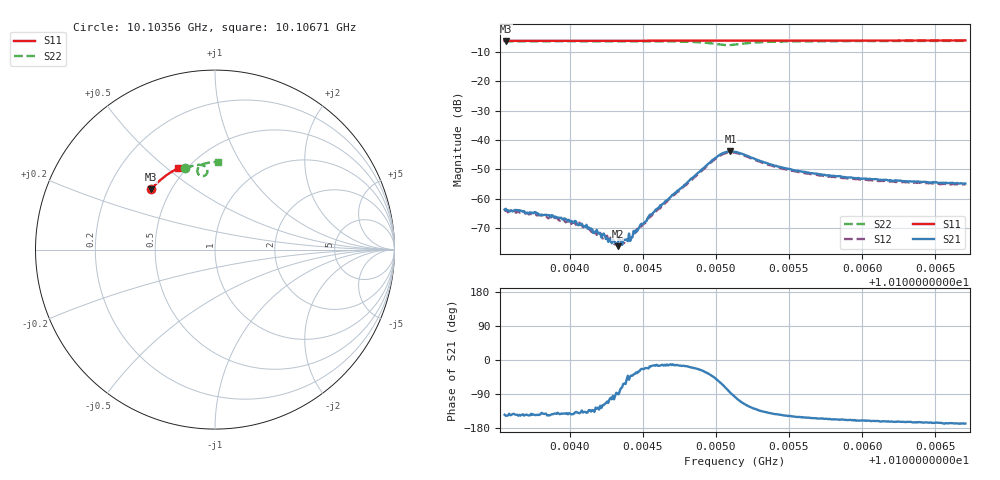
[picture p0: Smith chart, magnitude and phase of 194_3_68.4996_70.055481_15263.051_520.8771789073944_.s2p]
#  HZ  S  RI  R  50.00
! Rohde & Schwarz Vector Network Analyzer
! Rohde-Schwarz,ZNB20-2Port,1311601062101988,3.16
! Created: UTC 3/20/2024, 5:12:22 PM
! freq[Hz]  re:S11  im:S11  re:S21  im:S21  re:S12  im:S12  re:S22  im:S22
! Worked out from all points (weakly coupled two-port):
!   401 points, 10.10356 GHz to 10.10671 GHz, reference 50 ohm
!   highest |S21| = -43.83 dB at 10.1051 GHz (marker M1); lowest = -76.2 dB at 10.10433 GHz (marker M2)
!   lowest |S11| = -6.2 dB at 10.10356 GHz (marker M3), VSWR 2.92, Z = 19.5 + j17.2 ohm
!   |S11| at or under -10 dB: nowhere
!   |S22| runs from -7.6 to -6.2 dB; largest |S21 - S12| = 0.00071
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1.0103556e10  -0.357 0.335  -0.000531 -0.000379  -0.000479 -0.000426  -0.1664 0.452
1.0103564e10  -0.3567 0.3353  -0.000567 -0.000365  -0.00047 -0.000402  -0.1658 0.4523
1.0103643e10  -0.3536 0.339  -0.00052 -0.000373  -0.000453 -0.000388  -0.1608 0.4543
1.0103816e10  -0.3466 0.3469  -0.000408 -0.000329  -0.000387 -0.000365  -0.1496 0.4585
1.0103871e10  -0.3441 0.3493  -0.000396 -0.000281  -0.000369 -0.000338  -0.1458 0.4598
1.0104084e10  -0.3353 0.3587  -0.000256 -0.000273  -0.000239 -0.000271  -0.1314 0.4645
1.0104242e10  -0.3284 0.3655  -0.000101 -0.000211  -0.000109 -0.000198  -0.1199 0.4677
1.0104273e10  -0.3271 0.3669  -4.84e-05 -0.000189  -4.83e-05 -0.000193  -0.1176 0.4682
1.0104305e10  -0.3256 0.3681  -4.55e-05 -0.000185  5.57e-06 -0.000158  -0.1152 0.4689
1.0104328e10  -0.3247 0.3691  1.57e-06 -0.000155  1.2e-05 -0.000176  -0.1132 0.4693
1.0104383e10  -0.3224 0.3716  8.93e-05 -0.000178  0.000114 -0.000169  -0.109 0.47
1.0104415e10  -0.3209 0.3728  0.000138 -0.00013  0.000162 -0.000127  -0.1062 0.4706
1.0104549e10  -0.3148 0.3783  0.000509 -0.000149  0.000469 -9.5e-05  -0.0944 0.4722
1.0104612e10  -0.3121 0.3808  0.000677 -0.000185  0.000674 -0.000137  -0.0881 0.4724
1.0104982e10  -0.2946 0.3954  0.00333 -0.0032  0.00348 -0.00277  -0.0418 0.4379
1.0105045e10  -0.2918 0.3976  0.00253 -0.00533  0.00291 -0.00488  -0.0514 0.4161
1.01051e10  -0.2892 0.3994  0.000382 -0.00642  0.000991 -0.00607  -0.0738 0.4091
1.0105132e10  -0.2879 0.4007  -0.000792 -0.00621  -0.000236 -0.00608  -0.0858 0.4138
1.0105391e10  -0.2756 0.4103  -0.00291 -0.0023  -0.00261 -0.00247  -0.0848 0.4653
1.0105659e10  -0.2623 0.4198  -0.00241 -0.00122  -0.00222 -0.00137  -0.0599 0.4785
1.0106187e10  -0.2353 0.4369  -0.00197 -0.000612  -0.00179 -0.000757  -0.0198 0.4864
1.0106707e10  -0.2076 0.452  -0.00177 -0.000388  -0.00166 -0.000539  0.0158 0.4885
